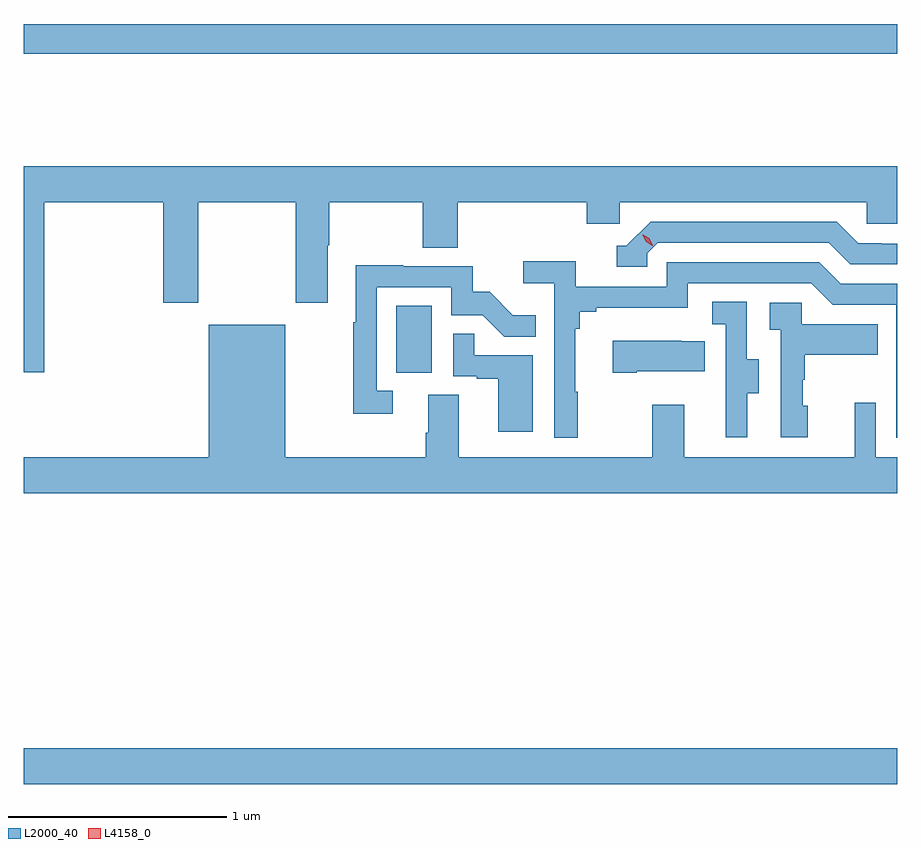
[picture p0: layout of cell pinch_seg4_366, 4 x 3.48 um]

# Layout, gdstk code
import gdstk
lib = gdstk.Library(unit=1e-6, precision=1e-09)
def R(c, l, rs):  # rectangles x0, y0, x1, y1
    for r in rs: c.add(gdstk.rectangle(r[:2], r[2:], *l))
def P(c, l, *ps):  # polygons
    for p in ps: c.add(gdstk.Polygon(p, *l))
L2000_40 = (2000, 40)
L4158_0 = (4158, 0)

pinch_seg4_366 = lib.new_cell('pinch_seg4_366')
R(pinch_seg4_366, L2000_40, [(910.201,767.516,914.201,767.68), (911.906,769.398,912.07,769.705), (910.201,770.86,914.201,770.996)])
P(pinch_seg4_366, L2000_40, [(910.295,770.18),(910.841,770.18),(910.841,769.719),(911.001,769.719),(911.001,770.18),(911.446,770.18),(911.446,769.719),(911.593,769.719),(911.593,769.984),(911.601,769.984),(911.601,770.18),(912.028,770.18),(912.028,769.972),(912.188,769.972),(912.188,770.18),(912.779,770.18),(912.779,770.082),(912.93,770.082),(912.93,770.18),(914.061,770.18),(914.061,770.082),(914.201,770.082),(914.201,770.344),(910.201,770.344),(910.201,769.401),(910.295,769.401)],
  [(913.056,769.947),(913.104,769.995),(913.887,769.995),(913.986,769.896),(914.201,769.896),(914.201,769.989),(914.13,769.989),(914.13,769.992),(914.023,769.992),(913.924,770.091),(913.071,770.091),(912.96,769.98),(912.917,769.98),(912.917,769.884),(913.056,769.884)],
  [(912.739,769.313),(912.727,769.313),(912.727,769.601),(912.746,769.601),(912.746,769.678),(912.823,769.678),(912.823,769.697),(913.242,769.697),(913.242,769.809),(913.806,769.809),(913.905,769.71),(914.196,769.71),(914.196,769.101),(914.201,769.101),(914.201,769.806),(913.942,769.806),(913.843,769.905),(913.146,769.905),(913.146,769.794),(912.728,769.794),(912.728,769.91),(912.489,769.91),(912.489,769.808),(912.63,769.808),(912.63,769.101),(912.739,769.101)],
  [(911.89,769.317),(911.817,769.317),(911.817,769.791),(912.159,769.791),(912.159,769.662),(912.303,769.662),(912.401,769.564),(912.545,769.564),(912.545,769.663),(912.441,769.663),(912.334,769.77),(912.258,769.77),(912.258,769.887),(911.939,769.887),(911.939,769.892),(911.721,769.892),(911.721,769.631),(911.709,769.631),(911.709,769.212),(911.89,769.212)],
  [(913.513,769.306),(913.567,769.306),(913.567,769.461),(913.512,769.461),(913.512,769.724),(913.353,769.724),(913.353,769.621),(913.416,769.621),(913.416,769.317),(913.415,769.317),(913.415,769.104),(913.513,769.104)],
  [(913.792,769.248),(913.767,769.248),(913.767,769.367),(913.777,769.367),(913.777,769.481),(914.111,769.481),(914.111,769.621),(913.764,769.621),(913.764,769.719),(913.617,769.719),(913.617,769.595),(913.668,769.595),(913.668,769.104),(913.792,769.104)],
  [(914.201,769.012),(914.103,769.012),(914.103,769.261),(914.006,769.261),(914.006,769.012),(913.225,769.012),(913.225,769.252),(913.078,769.252),(913.078,769.012),(912.193,769.012),(912.193,769.298),(912.053,769.298),(912.053,769.124),(912.041,769.124),(912.041,769.012),(911.398,769.012),(911.398,769.618),(911.048,769.618),(911.048,769.012),(910.201,769.012),(910.201,768.848),(914.201,768.848)],
  [(912.532,769.479),(912.263,769.479),(912.263,769.577),(912.168,769.577),(912.168,769.383),(912.275,769.383),(912.275,769.371),(912.374,769.371),(912.374,769.128),(912.532,769.128)],
  [(913.009,769.406),(913.319,769.406),(913.319,769.543),(913.211,769.543),(913.211,769.546),(912.897,769.546),(912.897,769.399),(913.009,769.399)])
P(pinch_seg4_366, L4158_0, [(913.08,769.981),(913.05,770.001),(913.034,770.034),(913.034,770.034),(913.034,770.034),(913.065,770.015),(913.081,769.982),(913.081,769.981)])

lib.write_gds('pinch_seg4_366.gds')
